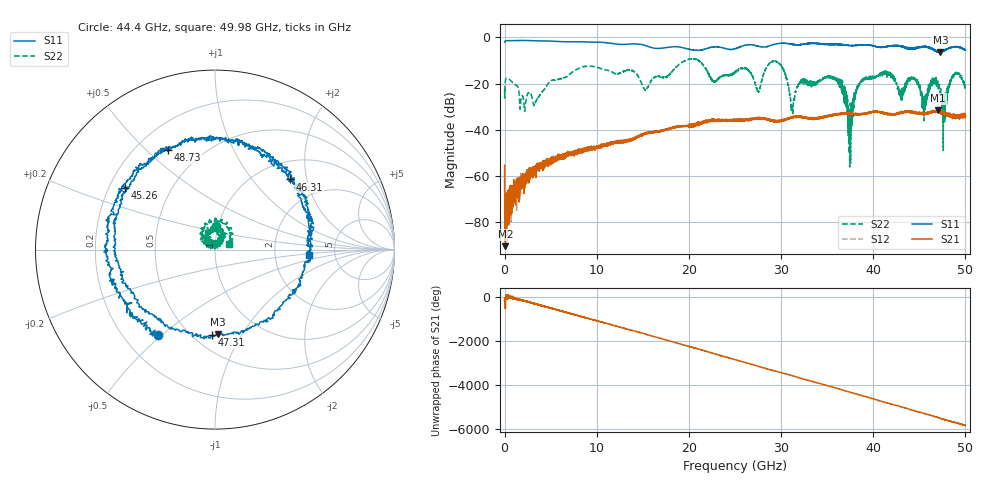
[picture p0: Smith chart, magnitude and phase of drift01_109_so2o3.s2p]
!Created with skrf (http://scikit-rf.org).
# Hz S RI R 50.0
!freq ReS11 ImS11 ReS21 ImS21 ReS12 ImS12 ReS22 ImS22
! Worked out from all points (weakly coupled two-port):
!   10001 points, 300 kHz to 50 GHz, reference 50 ohm
!   highest |S21| = -31.56 dB at 47.05 GHz (marker M1); lowest = -90.4 dB at 95.3 MHz (marker M2)
!   lowest |S11| = -6.5 dB at 47.28 GHz (marker M3), VSWR 2.78, Z = 32.8 - j39.6 ohm
!   |S11| at or under -10 dB: nowhere
!   |S22| runs from -56.2 to -9.2 dB; largest |S21 - S12| = 0.0037
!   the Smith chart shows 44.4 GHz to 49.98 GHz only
!   S11 on the Smith chart (normalised r, x): 44.4 GHz: 0.34, -0.48; 45.26 GHz: 0.27, +0.29; 46.31 GHz: 1.37, +1.59; 47.31 GHz: 0.61, -0.76; 48.73 GHz: 0.33, +0.59; 49.98 GHz: 3.20, -0.26
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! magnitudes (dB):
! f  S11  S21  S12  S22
! 300 kHz  -2.1  -55.4  -58.2  -22.2
! 95.3 MHz  -1.5  -90.4  -78.3  -18.5
! 3.29 GHz  -1.5  -58.7  -57.1  -28.9
! 8.335 GHz  -1.9  -48.9  -48.7  -12.9
! 16.67 GHz  -4.8  -40.6  -40.7  -16.6
! 25 GHz  -5.0  -35.8  -35.7  -15.4
! 29.59 GHz  -2.8  -36.3  -36.2  -10.7
! 31.24 GHz  -2.9  -34.7  -34.7  -31.6
! 33.34 GHz  -2.6  -35.2  -34.9  -20.3
! 36.08 GHz  -3.0  -33.2  -33.5  -18.4
! 37.47 GHz  -3.6  -33.2  -33.0  -34.3
! 38.65 GHz  -3.4  -33.3  -33.2  -20.0
! 41.67 GHz  -3.9  -33.1  -33.2  -16.2
! 44.4 GHz  -4.8  -32.3  -32.7  -17.7
! 45.26 GHz  -4.3  -32.8  -33.1  -25.5
! 46.31 GHz  -4.9  -32.0  -32.2  -19.5
! 47.05 GHz  -6.1  -31.6  -32.2  -21.7
! 47.28 GHz  -6.5  -32.1  -32.1  -23.0
! 47.31 GHz  -6.4  -32.0  -32.2  -22.4
! 48.73 GHz  -4.2  -34.4  -34.2  -16.2
! 49.98 GHz  -5.6  -33.5  -33.0  -21.2
! 50 GHz  -5.4  -34.2  -33.7  -21.5
